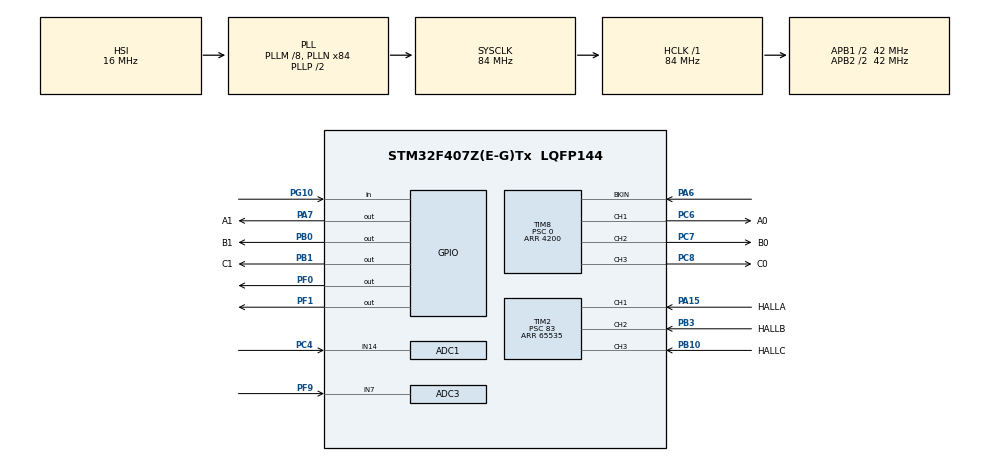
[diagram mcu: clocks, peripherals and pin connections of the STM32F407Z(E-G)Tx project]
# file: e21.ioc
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ADC1.Channel-0\#ChannelRegularConversion=ADC_CHANNEL_14
ADC1.ClockPrescaler=ADC_CLOCK_SYNC_PCLK_DIV4
ADC1.DMAContinuousRequests=ENABLE
ADC1.InjNumberOfConversion=0
ADC1.NbrOfConversionFlag=1
ADC1.Rank-0\#ChannelRegularConversion=1
ADC1.SamplingTime-0\#ChannelRegularConversion=ADC_SAMPLETIME_3CYCLES
ADC1.master=1
ADC3.Channel-0\#ChannelRegularConversion=ADC_CHANNEL_7
ADC3.ClockPrescaler=ADC_CLOCK_SYNC_PCLK_DIV4
ADC3.DMAContinuousRequests=ENABLE
ADC3.NbrOfConversionFlag=1
ADC3.Rank-0\#ChannelRegularConversion=1
ADC3.SamplingTime-0\#ChannelRegularConversion=ADC_SAMPLETIME_3CYCLES
Dma.ADC1.1.Direction=DMA_PERIPH_TO_MEMORY
Dma.ADC1.1.FIFOMode=DMA_FIFOMODE_DISABLE
Dma.ADC1.1.Instance=DMA2_Stream0
Dma.ADC1.1.MemDataAlignment=DMA_MDATAALIGN_HALFWORD
Dma.ADC1.1.MemInc=DMA_MINC_ENABLE
Dma.ADC1.1.Mode=DMA_CIRCULAR
Dma.ADC1.1.PeriphDataAlignment=DMA_PDATAALIGN_HALFWORD
Dma.ADC1.1.PeriphInc=DMA_PINC_DISABLE
Dma.ADC1.1.Priority=DMA_PRIORITY_HIGH
Dma.ADC3.0.Direction=DMA_PERIPH_TO_MEMORY
Dma.ADC3.0.FIFOMode=DMA_FIFOMODE_DISABLE
Dma.ADC3.0.Instance=DMA2_Stream1
Dma.ADC3.0.MemDataAlignment=DMA_MDATAALIGN_HALFWORD
Dma.ADC3.0.MemInc=DMA_MINC_ENABLE
Dma.ADC3.0.Mode=DMA_CIRCULAR
Dma.ADC3.0.PeriphDataAlignment=DMA_PDATAALIGN_HALFWORD
Dma.ADC3.0.PeriphInc=DMA_PINC_DISABLE
Dma.ADC3.0.Priority=DMA_PRIORITY_HIGH
Dma.Request0=ADC3
Dma.Request1=ADC1
Mcu.Family=STM32F4
Mcu.Name=STM32F407Z(E-G)Tx
Mcu.Package=LQFP144
NVIC.DMA2_Stream0_IRQn=true\:0\:0\:false\:false\:true\:false\:true\:true
NVIC.DMA2_Stream1_IRQn=true\:0\:0\:false\:false\:true\:false\:true\:true
NVIC.PriorityGroup=NVIC_PRIORITYGROUP_4
NVIC.TIM2_IRQn=true\:0\:0\:false\:false\:true\:true\:true\:true
NVIC.TIM3_IRQn=true\:0\:0\:false\:false\:true\:true\:true\:true
NVIC.TIM8_BRK_TIM12_IRQn=true\:0\:0\:false\:false\:true\:true\:true\:true
PA13.Mode=Serial_Wire
PA13.Signal=SYS_JTMS-SWDIO
PA14.Mode=Serial_Wire
PA14.Signal=SYS_JTCK-SWCLK
PA15.GPIO_Label=HALLA
PA15.GPIO_Speed=GPIO_SPEED_FREQ_HIGH
PA15.Signal=S_TIM2_CH1_ETR
PA6.Mode=Activate-Break-Input
PA6.Signal=TIM8_BKIN
PA7.GPIO_Label=A1
PA7.GPIO_PuPd=GPIO_PULLUP
PA7.GPIO_Speed=GPIO_SPEED_FREQ_VERY_HIGH
PA7.Signal=GPIO_Output
PB0.GPIO_Label=B1
PB0.GPIO_PuPd=GPIO_PULLUP
PB0.GPIO_Speed=GPIO_SPEED_FREQ_VERY_HIGH
PB0.Signal=GPIO_Output
PB1.GPIO_Label=C1
PB1.GPIO_PuPd=GPIO_PULLUP
PB1.GPIO_Speed=GPIO_SPEED_FREQ_VERY_HIGH
PB1.Signal=GPIO_Output
PB10.GPIO_Label=HALLC
PB10.GPIO_Speed=GPIO_SPEED_FREQ_HIGH
PB10.Signal=S_TIM2_CH3
PB3.GPIO_Label=HALLB
PB3.GPIO_Speed=GPIO_SPEED_FREQ_HIGH
PB3.Signal=S_TIM2_CH2
PC4.Signal=ADCx_IN14
PC6.GPIO_Label=A0
PC6.GPIO_Speed=GPIO_SPEED_FREQ_VERY_HIGH
PC6.Signal=S_TIM8_CH1
PC7.GPIO_Label=B0
PC7.GPIO_Speed=GPIO_SPEED_FREQ_VERY_HIGH
PC7.Signal=S_TIM8_CH2
PC8.GPIO_Label=C0
PC8.GPIO_Speed=GPIO_SPEED_FREQ_VERY_HIGH
PC8.Signal=S_TIM8_CH3
PF0.PinState=GPIO_PIN_SET
PF0.Signal=GPIO_Output
PF1.Signal=GPIO_Output
PF9.Mode=IN7
PF9.Signal=ADC3_IN7
PG10.GPIO_PuPd=GPIO_PULLUP
PG10.Signal=GPIO_Input
PH0-OSC_IN.Mode=HSE-External-Oscillator
PH0-OSC_IN.Signal=RCC_OSC_IN
PH1-OSC_OUT.Mode=HSE-External-Oscillator
PH1-OSC_OUT.Signal=RCC_OSC_OUT
ProjectManager.HeapSize=0x200
ProjectManager.StackSize=0x400
ProjectManager.TargetToolchain=MDK-ARM V5.32
RCC.48MHZClocksFreq_Value=42000000
RCC.AHBFreq_Value=84000000
RCC.APB1CLKDivider=RCC_HCLK_DIV2
RCC.APB1Freq_Value=42000000
RCC.APB1TimFreq_Value=84000000
RCC.APB2CLKDivider=RCC_HCLK_DIV2
RCC.APB2Freq_Value=42000000
RCC.APB2TimFreq_Value=84000000
RCC.CortexFreq_Value=84000000
RCC.HCLKFreq_Value=84000000
RCC.HSE_VALUE=25000000
RCC.HSI_VALUE=16000000
RCC.LSE_VALUE=32768
RCC.PLLM=8
RCC.PLLN=84
RCC.SYSCLKFreq_VALUE=84000000
RCC.SYSCLKSource=RCC_SYSCLKSOURCE_PLLCLK
RCC.VCOOutputFreq_Value=168000000
SH.ADCx_IN14.0=ADC1_IN14,IN14
SH.S_TIM2_CH1_ETR.0=TIM2_CH1,Input_Capture1_from_TI1
SH.S_TIM2_CH2.0=TIM2_CH2,Input_Capture2_from_TI2
SH.S_TIM2_CH3.0=TIM2_CH3,Input_Capture3_from_TI3
SH.S_TIM8_CH1.0=TIM8_CH1,PWM Generation1 CH1
SH.S_TIM8_CH2.0=TIM8_CH2,PWM Generation2 CH2
SH.S_TIM8_CH3.0=TIM8_CH3,PWM Generation3 CH3
TIM2.AutoReloadPreload=TIM_AUTORELOAD_PRELOAD_ENABLE
TIM2.Channel-Input_Capture1_from_TI1=TIM_CHANNEL_1
TIM2.Channel-Input_Capture2_from_TI2=TIM_CHANNEL_2
TIM2.Channel-Input_Capture3_from_TI3=TIM_CHANNEL_3
TIM2.ICFilter_CH1=8
TIM2.ICFilter_CH2=8
TIM2.ICFilter_CH3=8
TIM2.ICPolarity_CH1=TIM_INPUTCHANNELPOLARITY_BOTHEDGE
TIM2.ICPolarity_CH2=TIM_INPUTCHANNELPOLARITY_BOTHEDGE
TIM2.ICPolarity_CH3=TIM_INPUTCHANNELPOLARITY_BOTHEDGE
TIM2.Period=65535
TIM2.Prescaler=83
TIM3.AutoReloadPreload=TIM_AUTORELOAD_PRELOAD_ENABLE
TIM3.Period=9999
TIM3.Prescaler=4199
TIM8.AutoReloadPreload=TIM_AUTORELOAD_PRELOAD_ENABLE
TIM8.BreakPolarity=TIM_BREAKPOLARITY_LOW
TIM8.Channel-PWM\ Generation1\ CH1=TIM_CHANNEL_1
TIM8.Channel-PWM\ Generation2\ CH2=TIM_CHANNEL_2
TIM8.Channel-PWM\ Generation3\ CH3=TIM_CHANNEL_3
TIM8.OffStateIDLEMode=TIM_OSSI_ENABLE
TIM8.OffStateRunMode=TIM_OSSR_ENABLE
TIM8.Period=4200
TIM8.Prescaler=0
VP_TIM2_VS_ClockSourceINT.Mode=Internal
VP_TIM3_VS_ClockSourceINT.Mode=Internal
VP_TIM8_VS_ClockSourceINT.Mode=Internal
board=custom

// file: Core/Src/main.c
/* USER CODE BEGIN Header */
/**
  ******************************************************************************
  * @file           : main.c
  * @brief          : Main program body
  ******************************************************************************
  * @attention
  *
  * Copyright (c) 2023 STMicroelectronics.
  * All rights reserved.
  *
  * This software is licensed under terms that can be found in the LICENSE file
  * in the root directory of this software component.
  * If no LICENSE file comes with this software, it is provided AS-IS.
  *
  ******************************************************************************
  */
/* USER CODE END Header */
#include "main.h"
#include "adc.h"
#include "dma.h"
#include "tim.h"
#include "gpio.h"

/* USER CODE BEGIN Includes */
#include "stm32_2.8_lcd.h"
/* USER CODE END Includes */

/* USER CODE BEGIN PV */
int ha=0;
int hb=0;
int hc=0;
int i=0;
int m=0;
uint32_t pwmzkb[1];
uint32_t pwmv;
uint32_t voltva[1];
uint32_t voval;
float angle;
float speed;
int cPeriod;
int t=0;
/* USER CODE END PV */

void SystemClock_Config(void);

/* USER CODE BEGIN 0 */
void HAL_TIM_PeriodElapsedCallback(TIM_HandleTypeDef *htim)
{
	if(TIM3==htim->Instance)
	//cPeriod++;
	{
		HAL_GPIO_TogglePin(GPIOF,GPIO_PIN_1);
		speed = 60*t/(180*4);
		t=0;
	}
}

void HAL_TIM_IC_CaptureCallback(TIM_HandleTypeDef *htim)
{
	if(htim->Instance==TIM2)//
	{
		if(m==0)
		{
			return;
		}
			/*		__HAL_TIM_SetCompare(&htim8,TIM_CHANNEL_1,pwmv);
__HAL_TIM_SetCompare(&htim8,TIM_CHANNEL_2,pwmv);
__HAL_TIM_SetCompare(&htim8,TIM_CHANNEL_3,pwmv);*/
		//HAL_GPIO_WritePin(GPIOF,GPIO_PIN_0,GPIO_PIN_RESET);
		if(HAL_GPIO_ReadPin(HALLA_GPIO_Port,HALLA_Pin)==SET)
		{
			ha=1;
		}
		else
		{
			ha=0;
		}
		if(HAL_GPIO_ReadPin(HALLB_GPIO_Port,HALLB_Pin)==SET)
		{
			hb=1;
		}
		else
		{
			hb=0;
		}
		if(HAL_GPIO_ReadPin(HALLC_GPIO_Port,HALLC_Pin)==SET)
		{
			hc=1;
		}
		else
		{
			hc=0;
		}
		if(ha==1&&hb==0&&hc==1)
		{
			HAL_GPIO_WritePin(GPIOF,GPIO_PIN_0,GPIO_PIN_RESET);
			HAL_TIM_PWM_Start(&htim8,TIM_CHANNEL_1);
			HAL_TIM_PWM_Stop(&htim8,TIM_CHANNEL_2);
			HAL_TIM_PWM_Stop(&htim8,TIM_CHANNEL_3);

			HAL_GPIO_WritePin(GPIOA,GPIO_PIN_7,GPIO_PIN_RESET);
			HAL_GPIO_WritePin(GPIOB,GPIO_PIN_0,GPIO_PIN_SET);
			HAL_GPIO_WritePin(GPIOB,GPIO_PIN_1,GPIO_PIN_RESET);
		}
		else if(ha==1&&hb==0&&hc==0)
		{
			HAL_TIM_PWM_Start(&htim8,TIM_CHANNEL_1);
			HAL_TIM_PWM_Stop(&htim8,TIM_CHANNEL_2);
			HAL_TIM_PWM_Stop(&htim8,TIM_CHANNEL_3);

			HAL_GPIO_WritePin(GPIOA,GPIO_PIN_7,GPIO_PIN_RESET);
			HAL_GPIO_WritePin(GPIOB,GPIO_PIN_0,GPIO_PIN_RESET);
			HAL_GPIO_WritePin(GPIOB,GPIO_PIN_1,GPIO_PIN_SET);
		}
		else if(ha==1&&hb==1&&hc==0)
		{
			HAL_TIM_PWM_Stop(&htim8,TIM_CHANNEL_1);
			HAL_TIM_PWM_Start(&htim8,TIM_CHANNEL_2);
			HAL_TIM_PWM_Stop(&htim8,TIM_CHANNEL_3);

			HAL_GPIO_WritePin(GPIOA,GPIO_PIN_7,GPIO_PIN_RESET);
			HAL_GPIO_WritePin(GPIOB,GPIO_PIN_0,GPIO_PIN_RESET);
			HAL_GPIO_WritePin(GPIOB,GPIO_PIN_1,GPIO_PIN_SET);
		}
		else if(ha==0&&hb==1&&hc==0)
		{
			HAL_TIM_PWM_Stop(&htim8,TIM_CHANNEL_1);
			HAL_TIM_PWM_Start(&htim8,TIM_CHANNEL_2);
			HAL_TIM_PWM_Stop(&htim8,TIM_CHANNEL_3);

			HAL_GPIO_WritePin(GPIOA,GPIO_PIN_7,GPIO_PIN_SET);
			HAL_GPIO_WritePin(GPIOB,GPIO_PIN_0,GPIO_PIN_RESET);
			HAL_GPIO_WritePin(GPIOB,GPIO_PIN_1,GPIO_PIN_RESET);
		}
		else if(ha==0&&hb==1&&hc==1)
		{
			HAL_TIM_PWM_Stop(&htim8,TIM_CHANNEL_1);
			HAL_TIM_PWM_Stop(&htim8,TIM_CHANNEL_2);
			HAL_TIM_PWM_Start(&htim8,TIM_CHANNEL_3);

			HAL_GPIO_WritePin(GPIOA,GPIO_PIN_7,GPIO_PIN_SET);
			HAL_GPIO_WritePin(GPIOB,GPIO_PIN_0,GPIO_PIN_RESET);
			HAL_GPIO_WritePin(GPIOB,GPIO_PIN_1,GPIO_PIN_RESET);
		}
		else if(ha==0&&hb==0&&hc==1)
		{
			HAL_TIM_PWM_Stop(&htim8,TIM_CHANNEL_1);
			HAL_TIM_PWM_Stop(&htim8,TIM_CHANNEL_2);
			HAL_TIM_PWM_Start(&htim8,TIM_CHANNEL_3);

			HAL_GPIO_WritePin(GPIOA,GPIO_PIN_7,GPIO_PIN_RESET);
			HAL_GPIO_WritePin(GPIOB,GPIO_PIN_0,GPIO_PIN_SET);
			HAL_GPIO_WritePin(GPIOB,GPIO_PIN_1,GPIO_PIN_RESET);
		}
		t++;
		/*if(t>=1000)
		{
		speed = 6000/((cPeriod*0.001)*360*3);
		cPeriod = 0;
			t=0;
		}*/
		//angle += 60;
			/*if(cPeriod >= 50){
				speed = angle/((cPeriod*0.001)*360*3);
				cPeriod = 0;
				angle = 0;
				//LCD_DisplayStringLine(2,(u8 *)"BLDC speed:");
				//LCD_Draw_NUM(70,300,(int)speed);
			}*/
	/*	HAL_TIM_IC_Start_IT(&htim2,TIM_CHANNEL_1);
		HAL_TIM_IC_Start_IT(&htim2,TIM_CHANNEL_2);
		HAL_TIM_IC_Start_IT(&htim2,TIM_CHANNEL_3);*/
	}
}

	void HAL_TIMEx_BreakCallback(TIM_HandleTypeDef *htim)
	{
		if(htim->Instance==htim8.Instance)
		{
			HAL_TIM_PWM_Stop(&htim8,TIM_CHANNEL_1);
			HAL_TIM_PWM_Stop(&htim8,TIM_CHANNEL_2);
			HAL_TIM_PWM_Stop(&htim8,TIM_CHANNEL_3);
			HAL_GPIO_WritePin(GPIOA,GPIO_PIN_7,GPIO_PIN_RESET);
			HAL_GPIO_WritePin(GPIOB,GPIO_PIN_0,GPIO_PIN_RESET);
			HAL_GPIO_WritePin(GPIOB,GPIO_PIN_1,GPIO_PIN_RESET);
			__HAL_TIM_DISABLE_IT(&htim8,TIM_IT_BREAK);
		}
	}
/* USER CODE END 0 */

int main(void)
{

  /* MCU Configuration--------------------------------------------------------*/

  /* Reset of all peripherals, Initializes the Flash interface and the Systick. */
  HAL_Init();

  /* Configure the system clock */
  SystemClock_Config();

  /* Initialize all configured peripherals */
  MX_GPIO_Init();
  MX_DMA_Init();
  MX_ADC3_Init();
  MX_ADC1_Init();
  MX_TIM2_Init();
  MX_TIM3_Init();
  MX_TIM8_Init();
  /* USER CODE BEGIN 2 */
	STM32_LCD_Init();
	LCD_Clear(BackColor);
	LCD_SetTextColor(Blue);
HAL_NVIC_DisableIRQ(DMA2_Stream0_IRQn);
/*HAL_TIM_PWM_Stop(&htim8,TIM_CHANNEL_1);
HAL_TIM_PWM_Stop(&htim8,TIM_CHANNEL_2);
HAL_TIM_PWM_Stop(&htim8,TIM_CHANNEL_3);*/
__HAL_TIM_ENABLE_IT(&htim8, TIM_IT_BREAK);
HAL_TIM_Base_Start_IT(&htim3);
HAL_TIM_IC_Start_IT(&htim2,TIM_CHANNEL_1);
//HAL_TIM_Base_Start_IT(&htim2);
HAL_TIM_IC_Start_IT(&htim2,TIM_CHANNEL_2);
//HAL_TIM_Base_Start_IT(&htim2);
HAL_TIM_IC_Start_IT(&htim2,TIM_CHANNEL_3);
HAL_TIM_Base_Start_IT(&htim2);

  /* USER CODE END 2 */

  /* Infinite loop */
  /* USER CODE BEGIN WHILE */
  while (1)
  {
		int j=0;
	if(HAL_GPIO_ReadPin(GPIOG,GPIO_PIN_10)==GPIO_PIN_RESET)
			{
		for(j=0;j<10000;j++){}
				if(HAL_GPIO_ReadPin(GPIOG,GPIO_PIN_10)==GPIO_PIN_RESET){
					m = 1;
				}
			}
			if(m==1)
			{
		if(i==0)
		{
			HAL_TIM_IC_CaptureCallback(&htim2);
		HAL_Delay(4);
		HAL_TIM_IC_CaptureCallback(&htim2);
			i=1;
		}
		//if(cPeriod >= 50){
				//speed = 60/((cPeriod*0.001)*360*3);
				//cPeriod = 0;
				//angle = 0;
				//LCD_DisplayStringLine(2,(u8 *)"BLDC speed:");
				//LCD_Draw_NUM(70,300,(int)speed);
			//}
		HAL_ADC_Start_DMA(&hadc3,pwmzkb,1);
		pwmv=(pwmzkb[0]*8000)/4095;
		__HAL_TIM_SetCompare(&htim8,TIM_CHANNEL_1,pwmv);
__HAL_TIM_SetCompare(&htim8,TIM_CHANNEL_2,pwmv);
__HAL_TIM_SetCompare(&htim8,TIM_CHANNEL_3,pwmv);
		HAL_Delay(50);
		HAL_ADC_Start_DMA(&hadc1,voltva,1);
		voval=(voltva[0]*3300)/4095;
			voval=voval*1.12732/7.32;
		LCD_SetTextColor(Blue);
				LCD_DisplayStringLine(2,(u8 *)"BLDC speed:");
				LCD_Draw_NUM(70,300,(int)speed);

				LCD_DisplayStringLine(5,(u8 *)"PWM:");
				LCD_Draw_NUM(70+70,300,(int)(pwmv/80));
				LCD_DisplayStringLine(7,(u8 *)"Voltage:");
				LCD_Draw_NUM(70+70+70,300,(int)voval);
	}
			else
			{
			HAL_TIM_PWM_Stop(&htim8,TIM_CHANNEL_1);
			HAL_TIM_PWM_Stop(&htim8,TIM_CHANNEL_2);
			HAL_TIM_PWM_Stop(&htim8,TIM_CHANNEL_3);
			HAL_GPIO_WritePin(GPIOA,GPIO_PIN_7,GPIO_PIN_RESET);
			HAL_GPIO_WritePin(GPIOB,GPIO_PIN_0,GPIO_PIN_RESET);
			HAL_GPIO_WritePin(GPIOB,GPIO_PIN_1,GPIO_PIN_RESET);
			}

   //__HAL_TIM_SetCompare(&htim8,TIM_CHANNEL_1,6000);
    /* USER CODE END WHILE */

  }
}

void SystemClock_Config(void)
{
  RCC_OscInitTypeDef RCC_OscInitStruct = {0};
  RCC_ClkInitTypeDef RCC_ClkInitStruct = {0};

  /** Configure the main internal regulator output voltage
  */
  __HAL_RCC_PWR_CLK_ENABLE();
  __HAL_PWR_VOLTAGESCALING_CONFIG(PWR_REGULATOR_VOLTAGE_SCALE1);

  /** Initializes the RCC Oscillators according to the specified parameters
  * in the RCC_OscInitTypeDef structure.
  */
  RCC_OscInitStruct.OscillatorType = RCC_OSCILLATORTYPE_HSI;
  RCC_OscInitStruct.HSIState = RCC_HSI_ON;
  RCC_OscInitStruct.HSICalibrationValue = RCC_HSICALIBRATION_DEFAULT;
  RCC_OscInitStruct.PLL.PLLState = RCC_PLL_ON;
  RCC_OscInitStruct.PLL.PLLSource = RCC_PLLSOURCE_HSI;
  RCC_OscInitStruct.PLL.PLLM = 8;
  RCC_OscInitStruct.PLL.PLLN = 84;
  RCC_OscInitStruct.PLL.PLLP = RCC_PLLP_DIV2;
  RCC_OscInitStruct.PLL.PLLQ = 4;
  if (HAL_RCC_OscConfig(&RCC_OscInitStruct) != HAL_OK)
  {
    Error_Handler();
  }

  /** Initializes the CPU, AHB and APB buses clocks
  */
  RCC_ClkInitStruct.ClockType = RCC_CLOCKTYPE_HCLK|RCC_CLOCKTYPE_SYSCLK
                              |RCC_CLOCKTYPE_PCLK1|RCC_CLOCKTYPE_PCLK2;
  RCC_ClkInitStruct.SYSCLKSource = RCC_SYSCLKSOURCE_PLLCLK;
  RCC_ClkInitStruct.AHBCLKDivider = RCC_SYSCLK_DIV1;
  RCC_ClkInitStruct.APB1CLKDivider = RCC_HCLK_DIV2;
  RCC_ClkInitStruct.APB2CLKDivider = RCC_HCLK_DIV2;

  if (HAL_RCC_ClockConfig(&RCC_ClkInitStruct, FLASH_LATENCY_2) != HAL_OK)
  {
    Error_Handler();
  }
}

void Error_Handler(void)
{
  __disable_irq();
  while (1)
  {
  }
}
